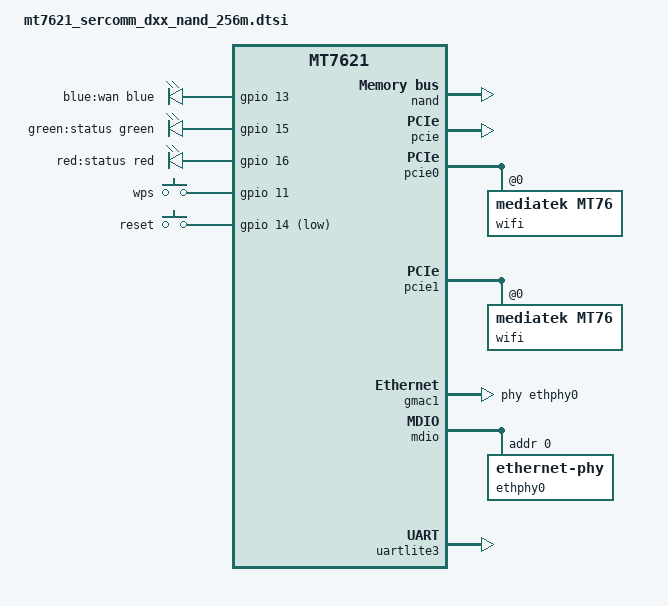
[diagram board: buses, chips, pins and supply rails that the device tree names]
// SPDX-License-Identifier: GPL-2.0-or-later OR MIT

#include "mt7621.dtsi"

#include <dt-bindings/gpio/gpio.h>
#include <dt-bindings/input/input.h>
#include <dt-bindings/leds/common.h>

/ {
	aliases {
		label-mac-device = &gmac0;

		led-boot = &led_status_green;
		led-failsafe = &led_status_red;
		led-running = &led_status_green;
		led-upgrade = &led_status_red;
	};

	leds {
		compatible = "gpio-leds";

		led-1 {
			label = "blue:wan";
			color = <LED_COLOR_ID_BLUE>;
			function = LED_FUNCTION_WAN;
			gpios = <&gpio 13 GPIO_ACTIVE_HIGH>;
		};

		led_status_green: led-0 {
			label = "green:status";
			color = <LED_COLOR_ID_GREEN>;
			function = LED_FUNCTION_STATUS;
			gpios = <&gpio 15 GPIO_ACTIVE_HIGH>;
		};

		led_status_red: led-2 {
			label = "red:status";
			color = <LED_COLOR_ID_RED>;
			function = LED_FUNCTION_STATUS;
			gpios = <&gpio 16 GPIO_ACTIVE_HIGH>;
		};
	};

	keys {
		compatible = "gpio-keys";

		wps {
			label = "wps";
			gpios = <&gpio 11 GPIO_ACTIVE_HIGH>;
			linux,code = <KEY_WPS_BUTTON>;
		};

		reset {
			label = "reset";
			gpios = <&gpio 14 GPIO_ACTIVE_LOW>;
			linux,code = <KEY_RESTART>;
		};
	};

	ubi-concat {
		compatible = "mtd-concat";
		devices = <&ubiconcat0 &ubiconcat1 &ubiconcat2 \
			&ubiconcat3>;

		partitions {
			compatible = "fixed-partitions";
			#address-cells = <1>;
			#size-cells = <1>;

			partition@0 {
				label = "ubi";
				reg = <0x0 0xca00000>;
			};
		};
	};
};

&nand {
	status = "okay";

	partitions {
		compatible = "sercomm,sc-partitions", "fixed-partitions";
		#address-cells = <1>;
		#size-cells = <1>;

		partition@0 {
			label = "u-boot";
			reg = <0x0 0x100000>;
			sercomm,scpart-id = <0>;
			read-only;
		};

		partition@100000 {
			label = "dynamic partition map";
			reg = <0x100000 0x100000>;
			sercomm,scpart-id = <1>;
			read-only;
		};

		factory: partition@200000 {
			label = "Factory";
			reg = <0x200000 0x100000>;
			sercomm,scpart-id = <2>;
			read-only;

			compatible = "nvmem-cells";
			#address-cells = <1>;
			#size-cells = <1>;

			macaddr_factory_21000: macaddr@21000 {
				reg = <0x21000 0x6>;
			};
		};

		partition@300000 {
			label = "Boot Flag";
			reg = <0x300000 0x100000>;
			sercomm,scpart-id = <3>;
		};

		partition@400000 {
			label = "kernel";
			reg = <0x400000 0x600000>;
			sercomm,scpart-id = <4>;
		};

		partition@a00000 {
			label = "Kernel 2";
			reg = <0xa00000 0x600000>;
			sercomm,scpart-id = <5>;
			read-only;
		};

		ubiconcat0: partition@1000000 {
			label = "File System 1";
			reg = <0x1000000 0x2000000>;
			sercomm,scpart-id = <6>;
		};

		partition@3000000 {
			label = "File System 2";
			reg = <0x3000000 0x2000000>;
			sercomm,scpart-id = <7>;
			read-only;
		};

		ubiconcat1: partition@5000000 {
			label = "Configuration/log";
			reg = <0x5000000 0x1400000>;
			sercomm,scpart-id = <8>;
		};

		ubiconcat2: partition@6400000 {
			label = "Debug (Ftool)";
			reg = <0x6400000 0x1a00000>;
			sercomm,scpart-id = <9>;
		};

		ubiconcat3: partition@8000000 {
			label = "Container";
			reg = <0x8000000 0x7c00000>;
			sercomm,scpart-id = <10>;
		};
	};
};

&pcie {
	status = "okay";
};

&pcie0 {
	wifi@0,0 {
		compatible = "mediatek,mt76";
		reg = <0x0000 0 0 0 0>;
		mediatek,mtd-eeprom = <&factory 0x8000>;
		ieee80211-freq-limit = <5000000 6000000>;
	};
};

&pcie1 {
	wifi@0,0 {
		compatible = "mediatek,mt76";
		reg = <0x0000 0 0 0 0>;
		mediatek,mtd-eeprom = <&factory 0x0>;
		ieee80211-freq-limit = <2400000 2500000>;
	};
};

&gmac0 {
	nvmem-cells = <&macaddr_factory_21000>;
	nvmem-cell-names = "mac-address";
};

&gmac1 {
	status = "okay";
	label = "wan";
	phy-handle = <&ethphy0>;
};

&mdio {
	ethphy0: ethernet-phy@0 {
		reg = <0>;
	};
};

&switch0 {
	ports {
		port@1 {
			status = "okay";
			label = "lan1";
		};

		port@2 {
			status = "okay";
			label = "lan2";
		};

		port@3 {
			status = "okay";
			label = "lan3";
		};

		port@4 {
			status = "okay";
			label = "lan4";
		};
	};
};

&uartlite3 {
	status = "okay";
};

&state_default {
	gpio {
		groups = "jtag", "uart2";
		function = "gpio";
	};
};
